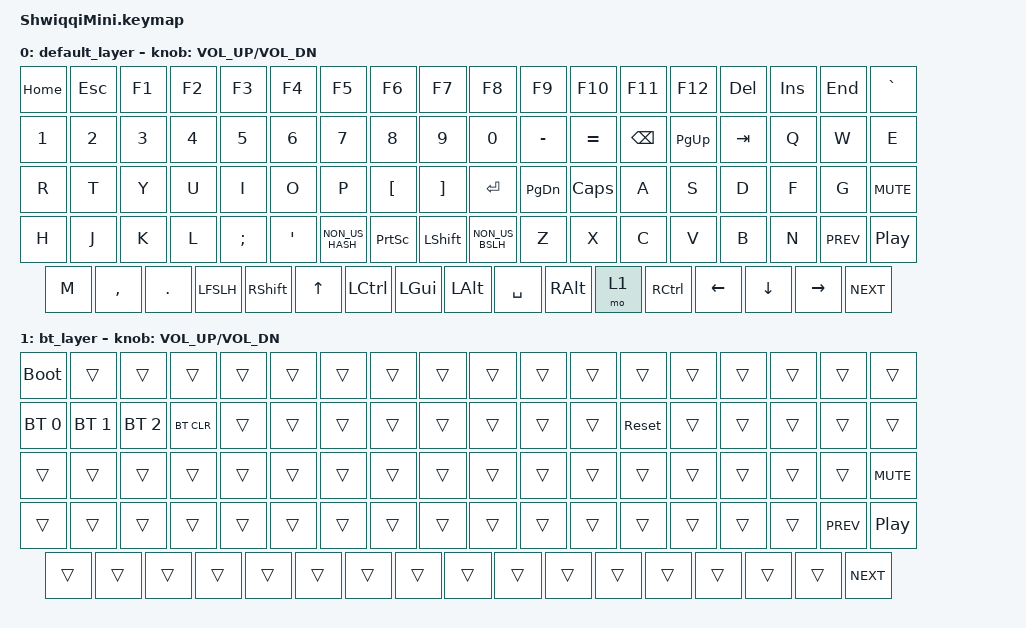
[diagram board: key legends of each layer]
#include <behaviors.dtsi>
#include <dt-bindings/zmk/keys.h>
#include <dt-bindings/zmk/bt.h>

/ {
    keymap {
        compatible = "zmk,keymap";

        default_layer {
            // DUPLEX GRID
        
            // HOME ESC F1  F2  F3  F4  F5  F6  F7  F8  F9  F10 F11 F12 DEL INS END ½
            // 1    2   3   4   5   6   7   8   9   0   ?   |   BCK PGU TAB Q   W   E
            // R    T   Y   U   I   O   P   Å   ^   ENT PGD CLK A   S   D   F   G   VOL
            // H    J   K   L   Æ   Ø   *   PRT SFT <   Z   X   C   V   B   N   PRV MED
            // M    ,   .   -   SFT UP  CTL WIN ALT SPC ALT MEN CTL LFT DWN RGT NXT
            bindings = <
                &kp HOME    &kp ESC &kp F1  &kp F2  &kp F3  &kp F4  &kp F5  &kp F6  &kp F7  &kp F8  &kp F9  &kp F10 &kp F11 &kp F12 &kp DEL &kp INS &kp END &kp GRAVE
                &kp N1  &kp N2  &kp N3  &kp N4  &kp N5  &kp N6  &kp N7  &kp N8  &kp N9  &kp N0  &kp MINUS   &kp EQUAL   &kp BSPC    &kp PG_UP   &kp TAB &kp Q   &kp W   &kp E
                &kp R   &kp T   &kp Y   &kp U   &kp I   &kp O   &kp P   &kp LBKT    &kp RBKT    &kp RET &kp PG_DN   &kp CLCK    &kp A   &kp S   &kp D   &kp F   &kp G   &kp C_MUTE
                &kp H   &kp J   &kp K   &kp L   &kp SEMI    &kp SQT &kp NON_US_HASH &kp PSCRN   &kp LSHFT   &kp NON_US_BSLH &kp Z   &kp X   &kp C   &kp V   &kp B   &kp N   &kp C_PREV  &kp C_PLAY_PAUSE
                &kp M   &kp COMMA   &kp DOT &kp LFSLH   &kp RSHFT   &kp UP  &kp LCTRL   &kp LGUI    &kp LALT    &kp SPACE   &kp RALT    &mo 1   &kp RCTRL   &kp LEFT    &kp DOWN    &kp RIGHT   &kp C_NEXT
            >;
            sensor-bindings = <&inc_dec_kp C_VOL_UP C_VOL_DN>;
        };

        bt_layer {
            bindings = <
                &bootloader    &trans     &trans     &trans     &trans     &trans     &trans     &trans     &trans     &trans     &trans     &trans     &trans     &trans     &trans     &trans     &trans     &trans
                &bt BT_SEL 0      &bt BT_SEL 1      &bt BT_SEL 2     &bt BT_CLR     &trans     &trans     &trans     &trans     &trans     &trans     &trans  &trans   &sys_reset    &trans   &trans     &trans       &trans       &trans
                &trans       &trans       &trans      &trans      &trans     &trans      &trans      &trans   &trans   &trans    &trans  &trans    &trans       &trans       &trans       &trans       &trans       &kp C_MUTE
                &trans       &trans       &trans      &trans      &trans      &trans      &trans      &trans   &trans   &trans    &trans  &trans    &trans       &trans       &trans       &trans       &kp C_PREV       &kp C_PLAY_PAUSE
                &trans       &trans       &trans      &trans      &trans       &trans      &trans   &trans   &trans    &trans  &trans    &trans       &trans       &trans       &trans       &trans       &kp C_NEXT

            >;
            sensor-bindings = <&inc_dec_kp C_VOL_UP C_VOL_DN>;
        };
    };
};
